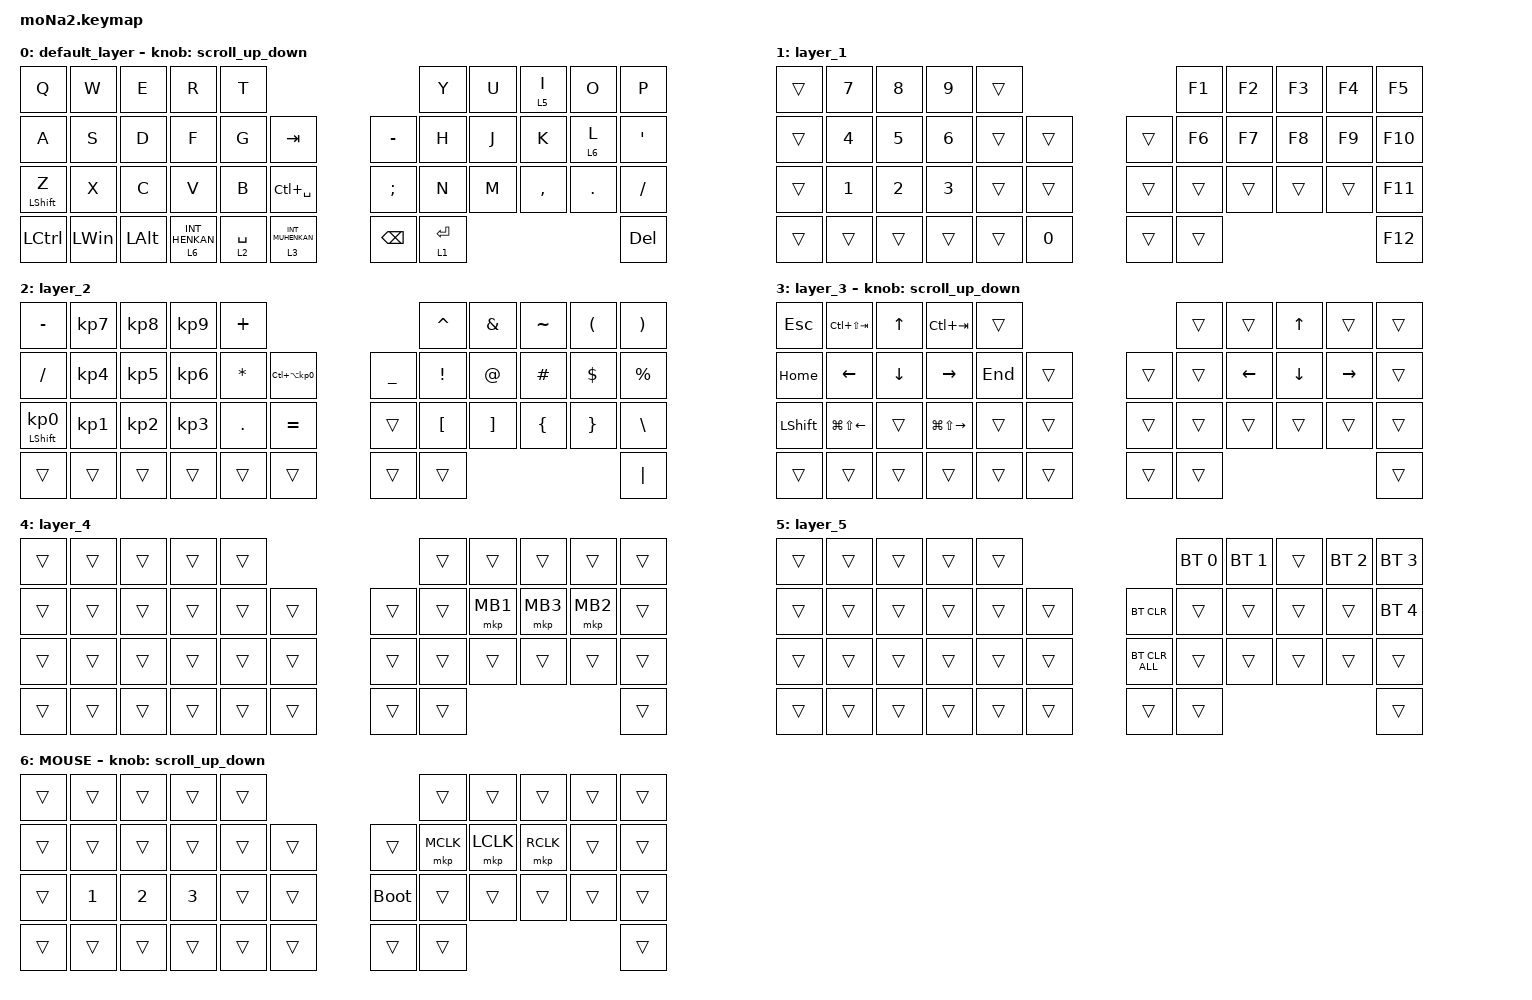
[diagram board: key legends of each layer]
#include <behaviors.dtsi>
#include <dt-bindings/zmk/bt.h>
#include <dt-bindings/zmk/keys.h>
#include <dt-bindings/zmk/mouse.h>

#define ZMK_MOUSE_DEFAULT_SCRL_VAL 100
#define MOUSE 6

&mt {
    flavor = "balanced";
    quick-tap-ms = <0>;
};

/ {
    combos {
        compatible = "zmk,combos";

        tab {
            bindings = <&kp TAB>;
            key-positions = <11 12>;
        };

        shift_tab {
            bindings = <&kp LS(TAB)>;
            key-positions = <12 13>;
        };

        muhennkann {
            bindings = <&to_layer_0 INT_MUHENKAN>;
            key-positions = <11 10>;
        };

        double_quotation {
            bindings = <&kp DOUBLE_QUOTES>;
            key-positions = <20 21>;
        };

        eq {
            bindings = <&kp EQUAL>;
            key-positions = <24 25>;
        };
    };

    macros {
        to_layer_0: to_layer_0 {
            compatible = "zmk,behavior-macro-one-param";
            #binding-cells = <1>;
            bindings = <&to 0 &macro_param_1to1 &kp MACRO_PLACEHOLDER>;
            label = "TO_LAYER_0";
        };
    };

    behaviors {
        lt_to_layer_0: lt_to_layer_0 {
            compatible = "zmk,behavior-hold-tap";
            label = "LAYER_TAP_TO_0";
            bindings = <&mo>, <&to_layer_0>;

            #binding-cells = <2>;
            tapping-term-ms = <200>;
        };

        //  behaviors に追加
        // 新しいスクロール動作の追加

        scroll_up_down: behavior_sensor_rotate_mouse_wheel_up_down {
            compatible = "zmk,behavior-sensor-rotate";
            #sensor-binding-cells = <0>;
            bindings = <&msc SCRL_UP>, <&msc SCRL_DOWN>;

            // 追加: スクロールのタップ時間を設定 (20ms)

            tap-ms = <20>;
        };
    };

    keymap {
        compatible = "zmk,keymap";

        default_layer {
            bindings = <
&kp Q             &kp W         &kp E         &kp R                        &kp T                                                        &kp Y        &kp U  &lt 5 I    &kp O               &kp P
&kp A             &kp S         &kp D         &kp F                        &kp G        &kp TAB                          &kp MINUS      &kp H        &kp J  &kp K      &lt_to_layer_0 6 L  &kp SQT
&mt LEFT_SHIFT Z  &kp X         &kp C         &kp V                        &kp B        &kp LC(SPACE)                    &kp SEMICOLON  &kp N        &kp M  &kp COMMA  &kp DOT             &kp SLASH
&kp LCTRL         &kp LEFT_WIN  &kp LEFT_ALT  &lt_to_layer_0 6 INT_HENKAN  &lt 2 SPACE  &lt_to_layer_0 3 INT_MUHENKAN    &kp BACKSPACE  &lt 1 ENTER                                        &kp DEL
            >;

            sensor-bindings = <&scroll_up_down>;
        };

        layer_1 {
            bindings = <
&trans  &kp NUMBER_7  &kp NUMBER_8  &kp NUMBER_9  &trans                          &kp F1  &kp F2  &kp F3  &kp F4  &kp F5
&trans  &kp NUMBER_4  &kp NUMBER_5  &kp NUMBER_6  &trans  &trans          &trans  &kp F6  &kp F7  &kp F8  &kp F9  &kp F10
&trans  &kp NUMBER_1  &kp NUMBER_2  &kp NUMBER_3  &trans  &trans          &trans  &trans  &trans  &trans  &trans  &kp F11
&trans  &trans        &trans        &trans        &trans  &kp NUMBER_0    &trans  &trans                          &kp F12
            >;
        };

        layer_2 {
            bindings = <
&kp MINUS                   &kp KP_NUMBER_7  &kp KP_NUMBER_8  &kp KP_NUMBER_9  &kp PLUS                                                 &kp CARET         &kp AMPERSAND      &kp TILDE       &kp LEFT_PARENTHESIS  &kp RIGHT_PARENTHESIS
&kp SLASH                   &kp KP_NUMBER_4  &kp KP_NUMBER_5  &kp KP_NUMBER_6  &kp ASTERISK  &kp LC(LA(KP_NUMBER_0))    &kp UNDERSCORE  &kp EXCLAMATION   &kp AT_SIGN        &kp HASH        &kp DOLLAR            &kp PERCENT
&mt LEFT_SHIFT KP_NUMBER_0  &kp KP_NUMBER_1  &kp KP_NUMBER_2  &kp KP_NUMBER_3  &kp PERIOD    &kp EQUAL                  &trans          &kp LEFT_BRACKET  &kp RIGHT_BRACKET  &kp LEFT_BRACE  &kp RIGHT_BRACE       &kp BACKSLASH
&trans                      &trans           &trans           &trans           &trans        &trans                     &trans          &trans                                                                     &kp PIPE
            >;
        };

        layer_3 {
            bindings = <
&kp ESCAPE      &kp LC(LS(TAB))         &kp UP_ARROW    &kp LC(TAB)              &trans                     &trans  &trans    &kp UP    &trans     &trans
&kp HOME        &kp LEFT_ARROW          &kp DOWN_ARROW  &kp RIGHT_ARROW          &kp END  &trans    &trans  &trans  &kp LEFT  &kp DOWN  &kp RIGHT  &trans
&kp LEFT_SHIFT  &kp LG(LS(LEFT_ARROW))  &trans          &kp LG(LS(RIGHT_ARROW))  &trans   &trans    &trans  &trans  &trans    &trans    &trans     &trans
&trans          &trans                  &trans          &trans                   &trans   &trans    &trans  &trans                                 &trans
            >;

            sensor-bindings = <&scroll_up_down>;
        };

        layer_4 {
            bindings = <
&trans  &trans  &trans  &trans  &trans                    &trans  &trans    &trans    &trans    &trans
&trans  &trans  &trans  &trans  &trans  &trans    &trans  &trans  &mkp MB1  &mkp MB3  &mkp MB2  &trans
&trans  &trans  &trans  &trans  &trans  &trans    &trans  &trans  &trans    &trans    &trans    &trans
&trans  &trans  &trans  &trans  &trans  &trans    &trans  &trans                                &trans
            >;
        };

        layer_5 {
            bindings = <
&trans  &trans  &trans  &trans  &trans                            &bt BT_SEL 0  &bt BT_SEL 1  &trans  &bt BT_SEL 2  &bt BT_SEL 3
&trans  &trans  &trans  &trans  &trans  &trans    &bt BT_CLR      &trans        &trans        &trans  &trans        &bt BT_SEL 4
&trans  &trans  &trans  &trans  &trans  &trans    &bt BT_CLR_ALL  &trans        &trans        &trans  &trans        &trans
&trans  &trans  &trans  &trans  &trans  &trans    &trans          &trans                                            &trans
            >;
        };

        MOUSE {
            bindings = <
&trans  &trans        &trans        &trans        &trans                         &trans     &trans     &trans     &trans  &trans
&trans  &trans        &trans        &trans        &trans  &trans    &trans       &mkp MCLK  &mkp LCLK  &mkp RCLK  &trans  &trans
&trans  &kp NUMBER_1  &kp NUMBER_2  &kp NUMBER_3  &trans  &trans    &bootloader  &trans     &trans     &trans     &trans  &trans
&trans  &trans        &trans        &trans        &trans  &trans    &trans       &trans                                   &trans
            >;

            sensor-bindings = <&scroll_up_down>;
        };
    };
};
